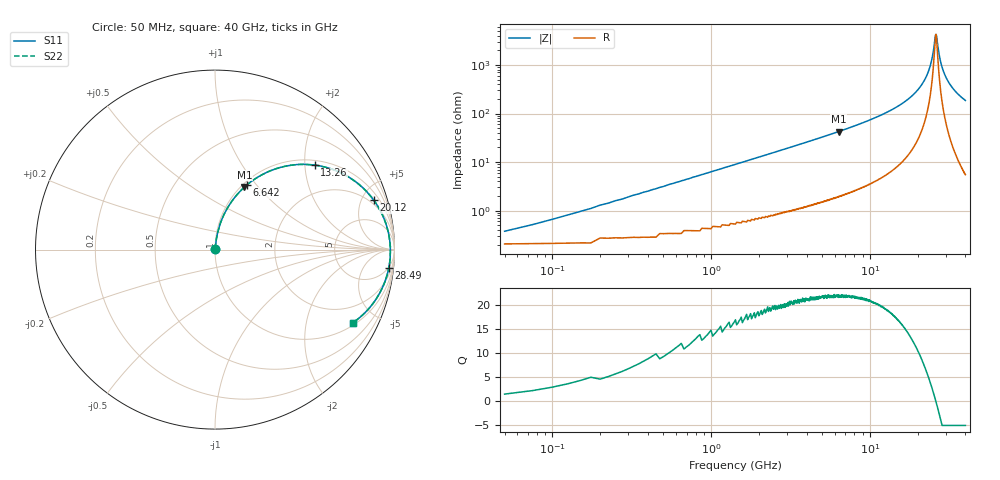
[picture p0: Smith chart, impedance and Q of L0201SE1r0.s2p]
# MHZ S MA R 50
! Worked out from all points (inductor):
!   1601 points, 50 MHz to 40 GHz, reference 50 ohm
!   read as one part in series: L = 1 nH near 249.8 MHz
!   highest Q = 22 at 6.367 GHz (marker M1), where L = 1.06 nH
!   self-resonance near 26.08 GHz
!   S11 on the Smith chart (normalised r, x): 50 MHz: 1.00, +0.01; 6.642 GHz: 1.04, +0.89; 13.26 GHz: 1.12, +2.24; 20.12 GHz: 1.59, +6.20; 28.49 GHz: 4, -18; 40 GHz: 1.11, -3.72
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50  0.003782 55.8  0.998 -0.2  0.998 -0.2  0.003782 55.8
349.625  0.022 81.4  0.997 -1.3  0.997 -1.3  0.022 81.4
574.344  0.036 82.6  0.996 -2.1  0.996 -2.1  0.036 82.6
948.875  0.059 82.5  0.994 -3.4  0.994 -3.4  0.059 82.5
1523.156  0.095 81.1  0.99 -5.5  0.99 -5.5  0.095 81.1
3370.844  0.209 75.2  0.968 -12.0  0.968 -12.0  0.209 75.2
6367.094  0.385 64.7  0.905 -22.6  0.905 -22.6  0.385 64.7
6641.75  0.401 63.8  0.898 -23.6  0.898 -23.6  0.401 63.8
6716.656  0.405 63.5  0.896 -23.9  0.896 -23.9  0.405 63.5
13258.47  0.728 40.3  0.648 -46.6  0.648 -46.6  0.728 40.3
13383.31  0.733 39.9  0.642 -47.0  0.642 -47.0  0.733 39.9
20025  0.925 17.5  0.303 -67.1  0.303 -67.1  0.925 17.5
20124.88  0.927 17.2  0.297 -67.3  0.297 -67.3  0.927 17.2
23820.25  0.969 6.2  0.11 -70.8  0.11 -70.8  0.969 6.2
24819  0.974 3.4  0.064 -64.5  0.064 -64.5  0.974 3.4
25992.53  0.977 0.2  0.023 -10.0  0.023 -10.0  0.977 0.2
26691.66  0.977 -1.6  0.035 49.3  0.035 49.3  0.977 -1.6
27490.66  0.976 -3.6  0.066 67.3  0.066 67.3  0.976 -3.6
28489.41  0.974 -6.0  0.107 72.7  0.107 72.7  0.974 -6.0
30436.97  0.964 -10.5  0.183 73.4  0.183 73.4  0.964 -10.5
33358.31  0.941 -16.6  0.286 69.9  0.286 69.9  0.941 -16.6
40000  0.87 -27.9  0.468 60.4  0.468 60.4  0.87 -27.9
